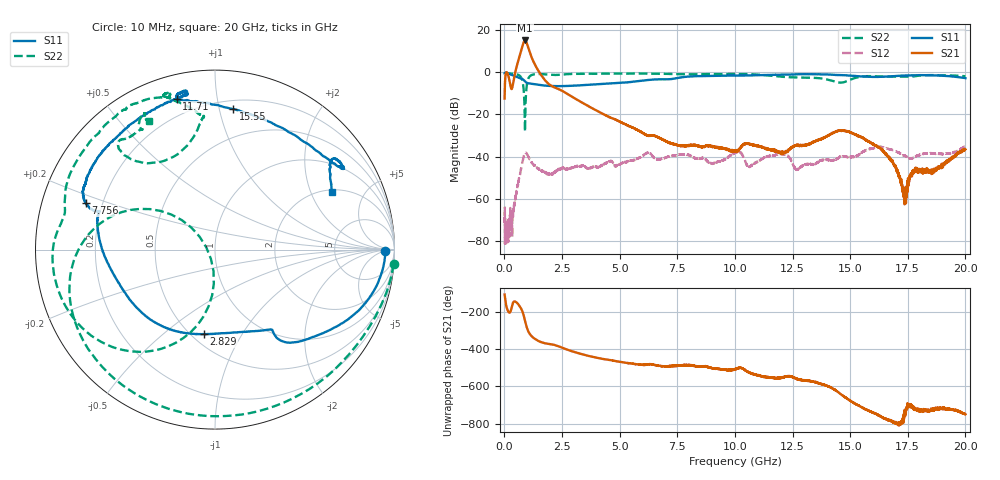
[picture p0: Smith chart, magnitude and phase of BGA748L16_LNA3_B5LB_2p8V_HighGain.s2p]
! S-Parameter file
! MATLAB S2P writer
! (c) DICE Linz
! Infineon Technologies
! Date: 08.04.2010 12:59
!BGA748L16_final_LB
!2.80V; 2.80V;
!25.00 deg
# MHZ S MA R 50
!  S11  S21  S12  S22
!  f  mag  angle  mag  angle  mag  angle  mag  angle
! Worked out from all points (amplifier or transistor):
!   4001 points, 10 MHz to 20 GHz, reference 50 ohm
!   highest |S21| = 15.1 dB at 894.6 MHz (marker M1)
!   |S21| within 3 dB of that: 775 MHz to 1.023 GHz (247.7 MHz wide, 27.6 % of centre)
!   unconditionally stable (mu >= 1): 10.29 MHz to end of sweep
!   at 3.338 GHz: K = 52.57, MAG = -5.0 dB, |S12| = -44.6 dB
!   at 10.01 GHz: K = 167.38, MAG = -25.1 dB, |S12| = -38.1 dB
!   at 20 GHz: K = 316.50, MAG = -28.8 dB, |S12| = -35.0 dB
!   lowest NFmin = 0.86 dB at 880 MHz
!   S11 on the Smith chart (normalised r, x): 10 MHz: 35, -4; 2.829 GHz: 0.57, -0.70; 7.756 GHz: 0.14, +0.17; 11.71 GHz: 0.11, +0.77; 15.55 GHz: 0.27, +1.10; 20 GHz: 2.11, +2.85
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10  0.9446 -0.4  0.2376 -105.5  0.0003671 69.2  0.9987 -4.7
214.8975  0.9039 -16.6  0.656 157.4  0.0002908 106.1  0.9314 -79.5
404.8025  0.8292 -28.6  0.6516 -144.1  0.0005643 157.2  0.9153 -123.6
639.685  0.7382 -40.8  2.205 -163.5  0.003012 160.7  0.8443 -163.9
789.61  0.6828 -49.1  4.274 160.8  0.007741 135.9  0.5975 161.4
894.5575  0.6082 -54.7  5.664 113.8  0.012 97.0  0.03926 -150.1
949.53  0.5709 -55.0  5.215 87.1  0.01219 74.2  0.377 -99.7
1009.5  0.5516 -54.5  4.227 64.6  0.01066 56.2  0.6304 -118.6
1099.455  0.5403 -55.4  2.977 43.1  0.008706 40.7  0.7973 -137.9
1244.382  0.5265 -58.7  1.868 23.3  0.006574 30.4  0.8799 -155.3
1474.267  0.5029 -64.7  1.081 5.0  0.005163 26.4  0.9071 -171.1
2828.59  0.475 -97.5  0.2844 -46.3  0.005265 43.2  0.905 155.4
3343.332  0.4919 -108.5  0.1937 -65.4  0.005764 36.1  0.9165 145.1
6676.665  0.6791 164.8  0.02872 -128.0  0.008543 23.0  0.9219 115.6
7756.125  0.7663 160.2  0.0182 -126.2  0.01116 12.4  0.8934 108.0
10005  0.832 137.0  0.01295 -146.7  0.01242 7.0  0.908 108.3
11714.15  0.8668 104.3  0.0137 164.5  0.01077 -5.6  0.8116 100.7
13338.33  0.8985 101.9  0.02121 147.4  0.006508 -13.3  0.7369 95.4
15547.23  0.7896 82.6  0.02768 5.2  0.01301 -25.4  0.7956 132.8
16671.67  0.7932 43.0  0.009484 -60.5  0.01516 -76.2  0.7866 126.9
17371.31  0.8355 32.8  0.001338 -21.3  0.01034 -90.6  0.7848 121.8
20000  0.7244 26.2  0.01496 -30.3  0.01779 -85.7  0.8036 117.3
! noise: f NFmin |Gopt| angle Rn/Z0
880  0.86  0.355  65  8.7
